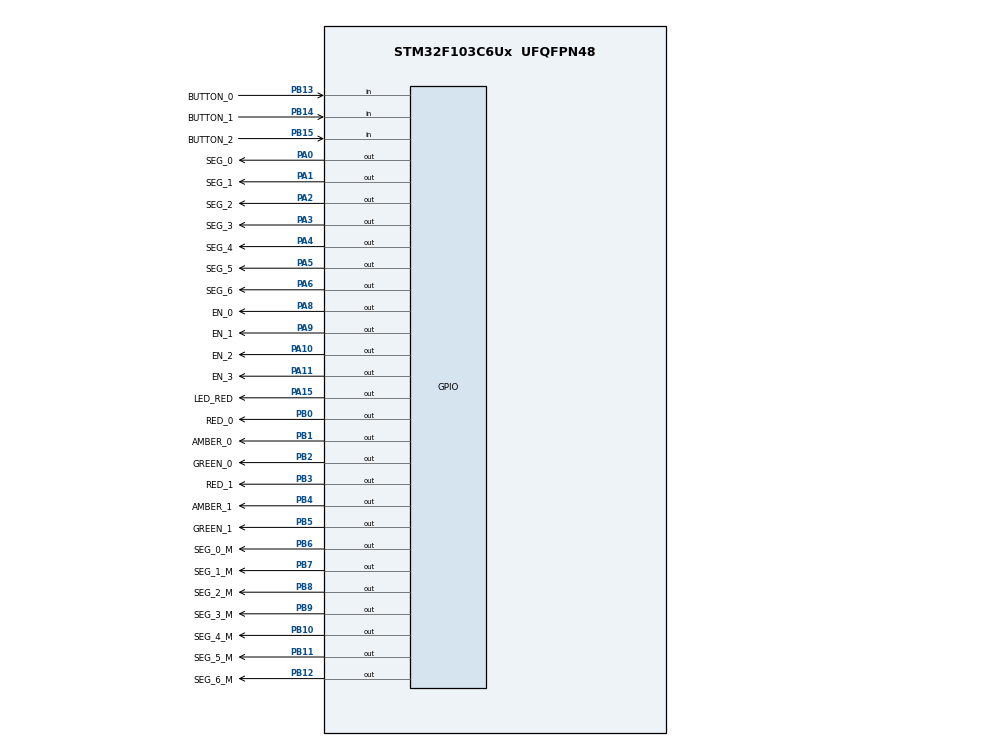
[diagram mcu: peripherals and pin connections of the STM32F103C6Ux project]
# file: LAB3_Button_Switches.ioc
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Mcu.Family=STM32F1
Mcu.Name=STM32F103C6Ux
Mcu.Package=UFQFPN48
NVIC.PriorityGroup=NVIC_PRIORITYGROUP_4
NVIC.TIM2_IRQn=true\:0\:0\:false\:false\:true\:true\:true\:true
PA0-WKUP.GPIO_Label=SEG_0
PA0-WKUP.Signal=GPIO_Output
PA1.GPIO_Label=SEG_1
PA1.Signal=GPIO_Output
PA10.GPIO_Label=EN_2
PA10.Signal=GPIO_Output
PA11.GPIO_Label=EN_3
PA11.Signal=GPIO_Output
PA13.Mode=Serial_Wire
PA13.Signal=SYS_JTMS-SWDIO
PA14.Mode=Serial_Wire
PA14.Signal=SYS_JTCK-SWCLK
PA15.GPIO_Label=LED_RED
PA15.Signal=GPIO_Output
PA2.GPIO_Label=SEG_2
PA2.Signal=GPIO_Output
PA3.GPIO_Label=SEG_3
PA3.Signal=GPIO_Output
PA4.GPIO_Label=SEG_4
PA4.Signal=GPIO_Output
PA5.GPIO_Label=SEG_5
PA5.Signal=GPIO_Output
PA6.GPIO_Label=SEG_6
PA6.Signal=GPIO_Output
PA8.GPIO_Label=EN_0
PA8.Signal=GPIO_Output
PA9.GPIO_Label=EN_1
PA9.Signal=GPIO_Output
PB0.GPIO_Label=RED_0
PB0.Signal=GPIO_Output
PB1.GPIO_Label=AMBER_0
PB1.Signal=GPIO_Output
PB10.GPIO_Label=SEG_4_M
PB10.Signal=GPIO_Output
PB11.GPIO_Label=SEG_5_M
PB11.Signal=GPIO_Output
PB12.GPIO_Label=SEG_6_M
PB12.Signal=GPIO_Output
PB13.GPIO_Label=BUTTON_0
PB13.Signal=GPIO_Input
PB14.GPIO_Label=BUTTON_1
PB14.Signal=GPIO_Input
PB15.GPIO_Label=BUTTON_2
PB15.Signal=GPIO_Input
PB2.GPIO_Label=GREEN_0
PB2.Signal=GPIO_Output
PB3.GPIO_Label=RED_1
PB3.Signal=GPIO_Output
PB4.GPIO_Label=AMBER_1
PB4.Signal=GPIO_Output
PB5.GPIO_Label=GREEN_1
PB5.Signal=GPIO_Output
PB6.GPIO_Label=SEG_0_M
PB6.Signal=GPIO_Output
PB7.GPIO_Label=SEG_1_M
PB7.Signal=GPIO_Output
PB8.GPIO_Label=SEG_2_M
PB8.Signal=GPIO_Output
PB9.GPIO_Label=SEG_3_M
PB9.Signal=GPIO_Output
ProjectManager.HeapSize=0x200
ProjectManager.StackSize=0x400
ProjectManager.TargetToolchain=STM32CubeIDE
RCC.APB1Freq_Value=8000000
RCC.APB2Freq_Value=8000000
TIM2.Period=9
TIM2.Prescaler=7999
VP_TIM2_VS_ClockSourceINT.Mode=Internal
board=custom

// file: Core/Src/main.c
/* USER CODE BEGIN Header */
/**
  ******************************************************************************
  * @file           : main.c
  * @brief          : Main program body
  ******************************************************************************
  * @attention
  *
  * Copyright (c) 2025 STMicroelectronics.
  * All rights reserved.
  *
  * This software is licensed under terms that can be found in the LICENSE file
  * in the root directory of this software component.
  * If no LICENSE file comes with this software, it is provided AS-IS.
  *
  ******************************************************************************
  */
/* USER CODE END Header */
#include "main.h"

/* USER CODE BEGIN Includes */
#include "input_reading.h"
#include "traffic_light.h"
#include "led_display.h"
/* USER CODE END Includes */

TIM_HandleTypeDef htim2;

void SystemClock_Config(void);
static void MX_GPIO_Init(void);
static void MX_TIM2_Init(void);
/* USER CODE BEGIN PFP */
void HAL_TIM_PeriodElapsedCallback(TIM_HandleTypeDef *htim);
void setTimer(int idx, int counter);
void timerRun();
/* USER CODE END PFP */

int main(void)
{

  /* MCU Configuration--------------------------------------------------------*/

  /* Reset of all peripherals, Initializes the Flash interface and the Systick. */
  HAL_Init();

  /* Configure the system clock */
  SystemClock_Config();

  /* Initialize all configured peripherals */
  MX_GPIO_Init();
  MX_TIM2_Init();
  /* USER CODE BEGIN 2 */
  HAL_TIM_Base_Start_IT(&htim2);
  setTimer(TIMER_READ_BUTTON,TIME_READ_BUTTON);
  /* USER CODE END 2 */

  /* Infinite loop */
  /* USER CODE BEGIN WHILE */

  while (1)
  {
	  fsm_for_traffic_light();

	  if(isFlag(TIMER_READ_BUTTON)){
		  button1_reading();
		  button2_reading();
		  button3_reading();
		  setTimer(TIMER_READ_BUTTON,TIME_READ_BUTTON);
	  }

    /* USER CODE END WHILE */

  }
}

void SystemClock_Config(void)
{
  RCC_OscInitTypeDef RCC_OscInitStruct = {0};
  RCC_ClkInitTypeDef RCC_ClkInitStruct = {0};

  /** Initializes the RCC Oscillators according to the specified parameters
  * in the RCC_OscInitTypeDef structure.
  */
  RCC_OscInitStruct.OscillatorType = RCC_OSCILLATORTYPE_HSI;
  RCC_OscInitStruct.HSIState = RCC_HSI_ON;
  RCC_OscInitStruct.HSICalibrationValue = RCC_HSICALIBRATION_DEFAULT;
  RCC_OscInitStruct.PLL.PLLState = RCC_PLL_NONE;
  if (HAL_RCC_OscConfig(&RCC_OscInitStruct) != HAL_OK)
  {
    Error_Handler();
  }

  /** Initializes the CPU, AHB and APB buses clocks
  */
  RCC_ClkInitStruct.ClockType = RCC_CLOCKTYPE_HCLK|RCC_CLOCKTYPE_SYSCLK
                              |RCC_CLOCKTYPE_PCLK1|RCC_CLOCKTYPE_PCLK2;
  RCC_ClkInitStruct.SYSCLKSource = RCC_SYSCLKSOURCE_HSI;
  RCC_ClkInitStruct.AHBCLKDivider = RCC_SYSCLK_DIV1;
  RCC_ClkInitStruct.APB1CLKDivider = RCC_HCLK_DIV1;
  RCC_ClkInitStruct.APB2CLKDivider = RCC_HCLK_DIV1;

  if (HAL_RCC_ClockConfig(&RCC_ClkInitStruct, FLASH_LATENCY_0) != HAL_OK)
  {
    Error_Handler();
  }
}

static void MX_TIM2_Init(void)
{

  TIM_ClockConfigTypeDef sClockSourceConfig = {0};
  TIM_MasterConfigTypeDef sMasterConfig = {0};

  htim2.Instance = TIM2;
  htim2.Init.Prescaler = 7999;
  htim2.Init.CounterMode = TIM_COUNTERMODE_UP;
  htim2.Init.Period = 9;
  htim2.Init.ClockDivision = TIM_CLOCKDIVISION_DIV1;
  htim2.Init.AutoReloadPreload = TIM_AUTORELOAD_PRELOAD_DISABLE;
  if (HAL_TIM_Base_Init(&htim2) != HAL_OK)
  {
    Error_Handler();
  }
  sClockSourceConfig.ClockSource = TIM_CLOCKSOURCE_INTERNAL;
  if (HAL_TIM_ConfigClockSource(&htim2, &sClockSourceConfig) != HAL_OK)
  {
    Error_Handler();
  }
  sMasterConfig.MasterOutputTrigger = TIM_TRGO_RESET;
  sMasterConfig.MasterSlaveMode = TIM_MASTERSLAVEMODE_DISABLE;
  if (HAL_TIMEx_MasterConfigSynchronization(&htim2, &sMasterConfig) != HAL_OK)
  {
    Error_Handler();
  }

}

static void MX_GPIO_Init(void)
{
  GPIO_InitTypeDef GPIO_InitStruct = {0};

  /* GPIO Ports Clock Enable */
  __HAL_RCC_GPIOA_CLK_ENABLE();
  __HAL_RCC_GPIOB_CLK_ENABLE();

  /*Configure GPIO pin Output Level */
  HAL_GPIO_WritePin(GPIOA, SEG_0_Pin|SEG_1_Pin|SEG_2_Pin|SEG_3_Pin
                          |SEG_4_Pin|SEG_5_Pin|SEG_6_Pin|EN_0_Pin
                          |EN_1_Pin|EN_2_Pin|EN_3_Pin|LED_RED_Pin, GPIO_PIN_RESET);

  /*Configure GPIO pin Output Level */
  HAL_GPIO_WritePin(GPIOB, RED_0_Pin|AMBER_0_Pin|GREEN_0_Pin|SEG_4_M_Pin
                          |SEG_5_M_Pin|SEG_6_M_Pin|RED_1_Pin|AMBER_1_Pin
                          |GREEN_1_Pin|SEG_0_M_Pin|SEG_1_M_Pin|SEG_2_M_Pin
                          |SEG_3_M_Pin, GPIO_PIN_RESET);

  /*Configure GPIO pins : SEG_0_Pin SEG_1_Pin SEG_2_Pin SEG_3_Pin
                           SEG_4_Pin SEG_5_Pin SEG_6_Pin EN_0_Pin
                           EN_1_Pin EN_2_Pin EN_3_Pin LED_RED_Pin */
  GPIO_InitStruct.Pin = SEG_0_Pin|SEG_1_Pin|SEG_2_Pin|SEG_3_Pin
                          |SEG_4_Pin|SEG_5_Pin|SEG_6_Pin|EN_0_Pin
                          |EN_1_Pin|EN_2_Pin|EN_3_Pin|LED_RED_Pin;
  GPIO_InitStruct.Mode = GPIO_MODE_OUTPUT_PP;
  GPIO_InitStruct.Pull = GPIO_NOPULL;
  GPIO_InitStruct.Speed = GPIO_SPEED_FREQ_LOW;
  HAL_GPIO_Init(GPIOA, &GPIO_InitStruct);

  /*Configure GPIO pins : RED_0_Pin AMBER_0_Pin GREEN_0_Pin SEG_4_M_Pin
                           SEG_5_M_Pin SEG_6_M_Pin RED_1_Pin AMBER_1_Pin
                           GREEN_1_Pin SEG_0_M_Pin SEG_1_M_Pin SEG_2_M_Pin
                           SEG_3_M_Pin */
  GPIO_InitStruct.Pin = RED_0_Pin|AMBER_0_Pin|GREEN_0_Pin|SEG_4_M_Pin
                          |SEG_5_M_Pin|SEG_6_M_Pin|RED_1_Pin|AMBER_1_Pin
                          |GREEN_1_Pin|SEG_0_M_Pin|SEG_1_M_Pin|SEG_2_M_Pin
                          |SEG_3_M_Pin;
  GPIO_InitStruct.Mode = GPIO_MODE_OUTPUT_PP;
  GPIO_InitStruct.Pull = GPIO_NOPULL;
  GPIO_InitStruct.Speed = GPIO_SPEED_FREQ_LOW;
  HAL_GPIO_Init(GPIOB, &GPIO_InitStruct);

  /*Configure GPIO pins : BUTTON_0_Pin BUTTON_1_Pin BUTTON_2_Pin */
  GPIO_InitStruct.Pin = BUTTON_0_Pin|BUTTON_1_Pin|BUTTON_2_Pin;
  GPIO_InitStruct.Mode = GPIO_MODE_INPUT;
  GPIO_InitStruct.Pull = GPIO_NOPULL;
  HAL_GPIO_Init(GPIOB, &GPIO_InitStruct);

}

/* USER CODE BEGIN 4 */
void HAL_TIM_PeriodElapsedCallback(TIM_HandleTypeDef *htim)
{
	timerRun();
}
/* USER CODE END 4 */

void Error_Handler(void)
{
  __disable_irq();
  while (1)
  {
  }
}
